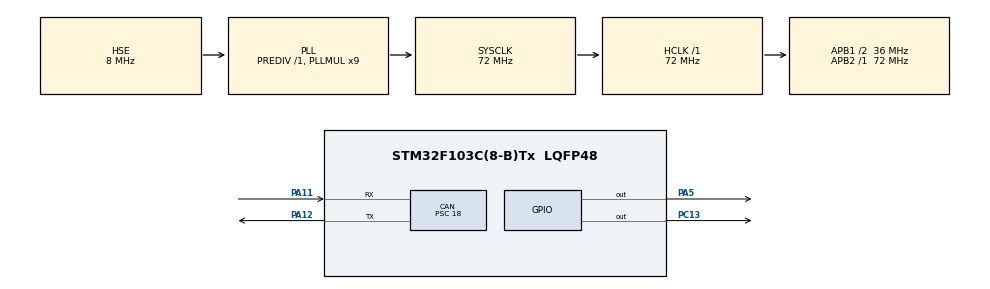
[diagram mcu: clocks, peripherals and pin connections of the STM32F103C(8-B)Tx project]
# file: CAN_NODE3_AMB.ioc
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CAN.BS1=CAN_BS1_2TQ
CAN.CalculateBaudRate=500000
CAN.CalculateTimeBit=2000
CAN.CalculateTimeQuantum=500.0
CAN.Prescaler=18
Mcu.Family=STM32F1
Mcu.Name=STM32F103C(8-B)Tx
Mcu.Package=LQFP48
NVIC.CAN1_RX1_IRQn=true\:0\:0\:false\:false\:true\:true\:true\:true
NVIC.PriorityGroup=NVIC_PRIORITYGROUP_4
PA11.GPIO_PuPd=GPIO_PULLUP
PA11.Mode=CAN_Activate
PA11.Signal=CAN_RX
PA12.Mode=CAN_Activate
PA12.Signal=CAN_TX
PA13.Mode=Serial_Wire
PA13.Signal=SYS_JTMS-SWDIO
PA14.Mode=Serial_Wire
PA14.Signal=SYS_JTCK-SWCLK
PA5.Signal=GPIO_Output
PC13-TAMPER-RTC.Signal=GPIO_Output
PD0-OSC_IN.Mode=HSE-External-Oscillator
PD0-OSC_IN.Signal=RCC_OSC_IN
PD1-OSC_OUT.Mode=HSE-External-Oscillator
PD1-OSC_OUT.Signal=RCC_OSC_OUT
ProjectManager.HeapSize=0x200
ProjectManager.StackSize=0x400
ProjectManager.TargetToolchain=STM32CubeIDE
RCC.AHBFreq_Value=72000000
RCC.APB1CLKDivider=RCC_HCLK_DIV2
RCC.APB1Freq_Value=36000000
RCC.APB1TimFreq_Value=72000000
RCC.APB2Freq_Value=72000000
RCC.APB2TimFreq_Value=72000000
RCC.HCLKFreq_Value=72000000
RCC.PLLMUL=RCC_PLL_MUL9
RCC.PLLSourceVirtual=RCC_PLLSOURCE_HSE
RCC.SYSCLKFreq_VALUE=72000000
RCC.SYSCLKSource=RCC_SYSCLKSOURCE_PLLCLK
RCC.USBFreq_Value=72000000
board=custom

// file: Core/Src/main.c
/* USER CODE BEGIN Header */
/**
  ******************************************************************************
  * @file           : main.c
  * @brief          : Main program body
  ******************************************************************************
  * @attention
  *
  * Copyright (c) 2025 STMicroelectronics.
  * All rights reserved.
  *
  * This software is licensed under terms that can be found in the LICENSE file
  * in the root directory of this software component.
  * If no LICENSE file comes with this software, it is provided AS-IS.
  *
  ******************************************************************************
  */
/* USER CODE END Header */
#include "main.h"

CAN_HandleTypeDef hcan;

/* USER CODE BEGIN PV */
CAN_TxHeaderTypeDef CAN_pHeader;
CAN_RxHeaderTypeDef CAN_pHeaderRx;
CAN_FilterTypeDef CAN_sFilterConfig;
uint32_t CAN_pTxMailbox;
uint8_t CAN_DATA_TX[8] = {0x02,0x02,0x03,0x02,0x02,0x02,0x02,0x02};
uint8_t CAN_DATA_RX[8] = {0x00,0x00,0x00,0x00,0x00,0x00,0x00,0x00};
/* USER CODE END PV */

void SystemClock_Config(void);
static void MX_GPIO_Init(void);
static void MX_CAN_Init(void);
/* USER CODE BEGIN PFP */
void HAL_CAN_RxFifo1MsgPendingCallback(CAN_HandleTypeDef *hcan){

		HAL_CAN_GetRxMessage(hcan, CAN_RX_FIFO1, &CAN_pHeaderRx, CAN_DATA_RX);
		HAL_GPIO_WritePin(GPIOA,GPIO_PIN_5,GPIO_PIN_RESET);

}
/* USER CODE END PFP */

int main(void)
{

  /* MCU Configuration--------------------------------------------------------*/

  /* Reset of all peripherals, Initializes the Flash interface and the Systick. */
  HAL_Init();

  /* Configure the system clock */
  SystemClock_Config();

  /* Initialize all configured peripherals */
  MX_GPIO_Init();
  MX_CAN_Init();
  /* USER CODE BEGIN 2 */
  HAL_CAN_ConfigFilter(&hcan,&CAN_sFilterConfig);
  HAL_CAN_Start(&hcan);
  HAL_CAN_ActivateNotification(&hcan, CAN_IT_RX_FIFO1_MSG_PENDING);
  /* USER CODE END 2 */

  /* Infinite loop */
  while (1)
  {

    /* USER CODE BEGIN 3 */

	  HAL_CAN_AddTxMessage(&hcan, &CAN_pHeader, CAN_DATA_TX, &CAN_pTxMailbox);
	  	  		  HAL_GPIO_WritePin(GPIOA,GPIO_PIN_5,GPIO_PIN_SET);

	  	  	  HAL_Delay(4000);
  }
  /* USER CODE END 3 */
}

void SystemClock_Config(void)
{
  RCC_OscInitTypeDef RCC_OscInitStruct = {0};
  RCC_ClkInitTypeDef RCC_ClkInitStruct = {0};

  /** Initializes the RCC Oscillators according to the specified parameters
  * in the RCC_OscInitTypeDef structure.
  */
  RCC_OscInitStruct.OscillatorType = RCC_OSCILLATORTYPE_HSE;
  RCC_OscInitStruct.HSEState = RCC_HSE_ON;
  RCC_OscInitStruct.HSEPredivValue = RCC_HSE_PREDIV_DIV1;
  RCC_OscInitStruct.HSIState = RCC_HSI_ON;
  RCC_OscInitStruct.PLL.PLLState = RCC_PLL_ON;
  RCC_OscInitStruct.PLL.PLLSource = RCC_PLLSOURCE_HSE;
  RCC_OscInitStruct.PLL.PLLMUL = RCC_PLL_MUL9;
  if (HAL_RCC_OscConfig(&RCC_OscInitStruct) != HAL_OK)
  {
    Error_Handler();
  }

  /** Initializes the CPU, AHB and APB buses clocks
  */
  RCC_ClkInitStruct.ClockType = RCC_CLOCKTYPE_HCLK|RCC_CLOCKTYPE_SYSCLK
                              |RCC_CLOCKTYPE_PCLK1|RCC_CLOCKTYPE_PCLK2;
  RCC_ClkInitStruct.SYSCLKSource = RCC_SYSCLKSOURCE_PLLCLK;
  RCC_ClkInitStruct.AHBCLKDivider = RCC_SYSCLK_DIV1;
  RCC_ClkInitStruct.APB1CLKDivider = RCC_HCLK_DIV2;
  RCC_ClkInitStruct.APB2CLKDivider = RCC_HCLK_DIV1;

  if (HAL_RCC_ClockConfig(&RCC_ClkInitStruct, FLASH_LATENCY_2) != HAL_OK)
  {
    Error_Handler();
  }
}

static void MX_CAN_Init(void)
{

  /* USER CODE BEGIN CAN_Init 0 */
	CAN_pHeader.StdId = 0x03;
		CAN_pHeader.DLC = 8;
		CAN_pHeader.IDE = CAN_ID_STD;
		CAN_pHeader.RTR = CAN_RTR_DATA;
  /* USER CODE END CAN_Init 0 */

  hcan.Instance = CAN1;
  hcan.Init.Prescaler = 18;
  hcan.Init.Mode = CAN_MODE_NORMAL;
  hcan.Init.SyncJumpWidth = CAN_SJW_1TQ;
  hcan.Init.TimeSeg1 = CAN_BS1_2TQ;
  hcan.Init.TimeSeg2 = CAN_BS2_1TQ;
  hcan.Init.TimeTriggeredMode = DISABLE;
  hcan.Init.AutoBusOff = DISABLE;
  hcan.Init.AutoWakeUp = DISABLE;
  hcan.Init.AutoRetransmission = DISABLE;
  hcan.Init.ReceiveFifoLocked = DISABLE;
  hcan.Init.TransmitFifoPriority = DISABLE;
  if (HAL_CAN_Init(&hcan) != HAL_OK)
  {
    Error_Handler();
  }
  /* USER CODE BEGIN CAN_Init 2 */
  CAN_sFilterConfig.FilterActivation = CAN_FILTER_ENABLE;
    CAN_sFilterConfig.FilterFIFOAssignment = CAN_FILTER_FIFO1;
    CAN_sFilterConfig.SlaveStartFilterBank = 0;
    CAN_sFilterConfig.FilterBank = 8;
    CAN_sFilterConfig.FilterMode = CAN_FILTERMODE_IDMASK;
    CAN_sFilterConfig.FilterScale = CAN_FILTERSCALE_32BIT;
    CAN_sFilterConfig.FilterIdHigh = 0x002 << 5;
    CAN_sFilterConfig.FilterIdLow = 0;
    CAN_sFilterConfig.FilterMaskIdHigh = 0;
    CAN_sFilterConfig.FilterMaskIdLow = 0;
  /* USER CODE END CAN_Init 2 */

}

static void MX_GPIO_Init(void)
{
  GPIO_InitTypeDef GPIO_InitStruct = {0};

  /* GPIO Ports Clock Enable */
  __HAL_RCC_GPIOC_CLK_ENABLE();
  __HAL_RCC_GPIOD_CLK_ENABLE();
  __HAL_RCC_GPIOA_CLK_ENABLE();

  /*Configure GPIO pin Output Level */
  HAL_GPIO_WritePin(GPIOC, GPIO_PIN_13, GPIO_PIN_RESET);

  /*Configure GPIO pin Output Level */
  HAL_GPIO_WritePin(GPIOA, GPIO_PIN_5, GPIO_PIN_RESET);

  /*Configure GPIO pin : PC13 */
  GPIO_InitStruct.Pin = GPIO_PIN_13;
  GPIO_InitStruct.Mode = GPIO_MODE_OUTPUT_PP;
  GPIO_InitStruct.Pull = GPIO_NOPULL;
  GPIO_InitStruct.Speed = GPIO_SPEED_FREQ_LOW;
  HAL_GPIO_Init(GPIOC, &GPIO_InitStruct);

  /*Configure GPIO pin : PA5 */
  GPIO_InitStruct.Pin = GPIO_PIN_5;
  GPIO_InitStruct.Mode = GPIO_MODE_OUTPUT_PP;
  GPIO_InitStruct.Pull = GPIO_NOPULL;
  GPIO_InitStruct.Speed = GPIO_SPEED_FREQ_LOW;
  HAL_GPIO_Init(GPIOA, &GPIO_InitStruct);

}

void Error_Handler(void)
{
  __disable_irq();
  while (1)
  {
  }
}
